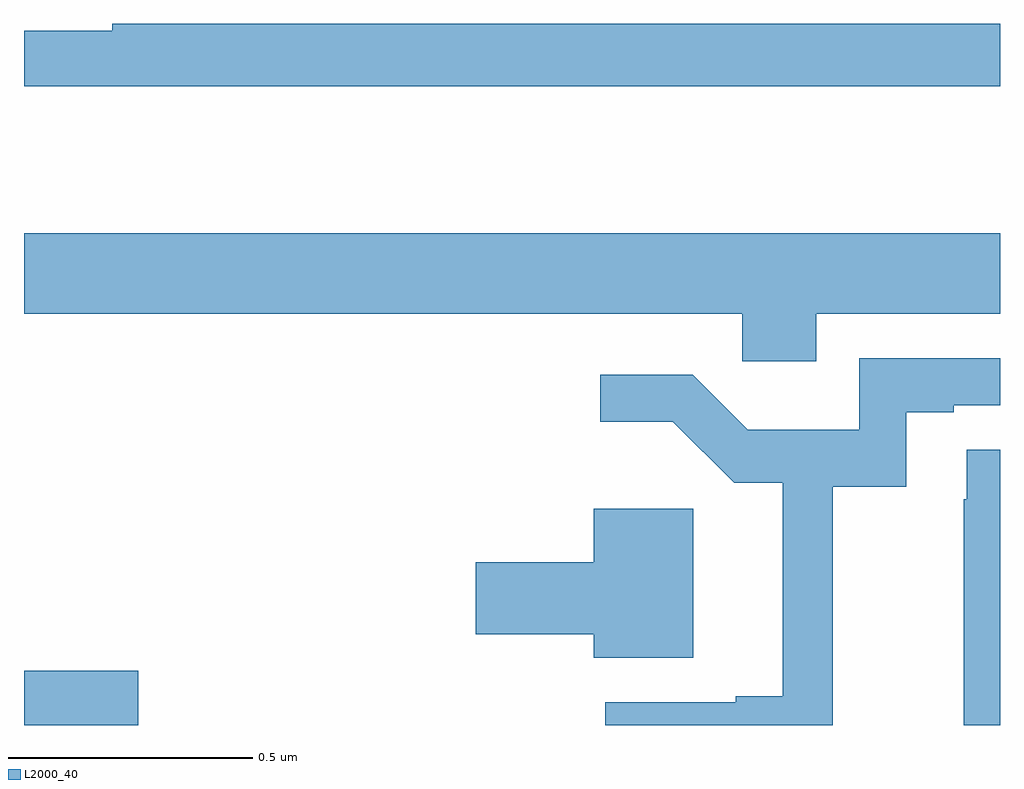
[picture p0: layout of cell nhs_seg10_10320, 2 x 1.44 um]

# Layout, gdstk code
import gdstk
lib = gdstk.Library(unit=1e-6, precision=1e-09)
def R(c, l, rs):  # rectangles x0, y0, x1, y1
    for r in rs: c.add(gdstk.rectangle(r[:2], r[2:], *l))
def P(c, l, *ps):  # polygons
    for p in ps: c.add(gdstk.Polygon(p, *l))
L2000_40 = (2000, 40)

nhs_seg10_10320 = lib.new_cell('nhs_seg10_10320')
R(nhs_seg10_10320, L2000_40, [(241,1271.5,241.234,1271.612)])
P(nhs_seg10_10320, L2000_40, [(243,1272.938),(241.181,1272.938),(241.181,1272.923),(241,1272.923),(241,1272.81),(243,1272.81)],
  [(242.623,1272.344),(243,1272.344),(243,1272.508),(241,1272.508),(241,1272.344),(242.472,1272.344),(242.472,1272.246),(242.623,1272.246)],
  [(242.657,1271.989),(242.808,1271.989),(242.808,1272.142),(242.905,1272.142),(242.905,1272.156),(243,1272.156),(243,1272.252),(242.712,1272.252),(242.712,1272.106),(242.483,1272.106),(242.37,1272.219),(242.181,1272.219),(242.181,1272.122),(242.329,1272.122),(242.455,1271.997),(242.555,1271.997),(242.555,1271.56),(242.459,1271.56),(242.459,1271.547),(242.191,1271.547),(242.191,1271.5),(242.657,1271.5)],
  [(243,1272.065),(242.932,1272.065),(242.932,1271.963),(242.926,1271.963),(242.926,1271.5),(243,1271.5)],
  [(242.371,1271.944),(242.168,1271.944),(242.168,1271.834),(241.926,1271.834),(241.926,1271.687),(242.168,1271.687),(242.168,1271.639),(242.371,1271.639)])

lib.write_gds('nhs_seg10_10320.gds')
